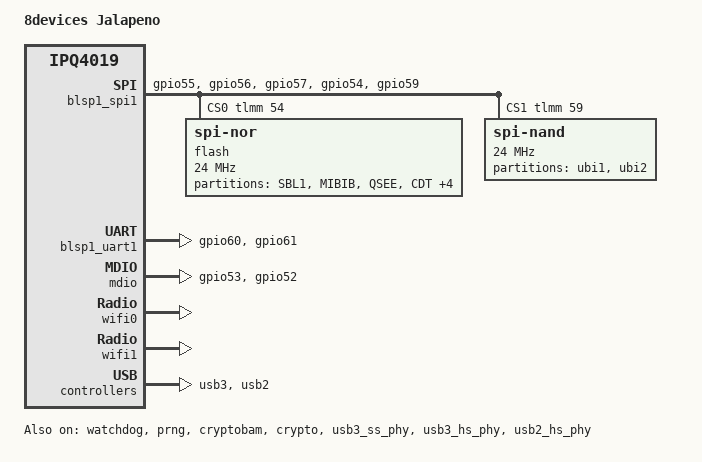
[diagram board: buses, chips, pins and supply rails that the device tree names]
// SPDX-License-Identifier: GPL-2.0-or-later OR MIT
// Copyright (c) 2018, Robert Marko <robimarko@gmail.com>

#include "qcom-ipq4019.dtsi"
#include <dt-bindings/gpio/gpio.h>
#include <dt-bindings/input/input.h>

/ {
	model = "8devices Jalapeno";
	compatible = "8dev,jalapeno";
};

&tlmm {
	mdio_pins: mdio_pinmux {
		pinmux_1 {
			pins = "gpio53";
			function = "mdio";
		};

		pinmux_2 {
			pins = "gpio52";
			function = "mdc";
		};

		pinconf {
			pins = "gpio52", "gpio53";
			bias-pull-up;
		};
	};

	serial_pins: serial_pinmux {
		mux {
			pins = "gpio60", "gpio61";
			function = "blsp_uart0";
			bias-disable;
		};
	};

	spi_0_pins: spi_0_pinmux {
		pin {
			function = "blsp_spi0";
			pins = "gpio55", "gpio56", "gpio57";
			drive-strength = <2>;
			bias-disable;
		};

		pin_cs {
			function = "gpio";
			pins = "gpio54", "gpio59";
			drive-strength = <2>;
			bias-disable;
			output-high;
		};
	};
};

&watchdog {
	status = "okay";
};

&prng {
	status = "okay";
};

&blsp_dma {
	status = "okay";
};

&blsp1_spi1 {
	status = "okay";

	pinctrl-0 = <&spi_0_pins>;
	pinctrl-names = "default";
	cs-gpios = <&tlmm 54 GPIO_ACTIVE_HIGH>, <&tlmm 59 GPIO_ACTIVE_HIGH>;

	flash@0 {
		status = "okay";

		compatible = "jedec,spi-nor";
		reg = <0>;
		spi-max-frequency = <24000000>;

		partitions {
			compatible = "fixed-partitions";
			#address-cells = <1>;
			#size-cells = <1>;

			partition@0 {
				label = "SBL1";
				reg = <0x00000000 0x00040000>;
				read-only;
			};

			partition@40000 {
				label = "MIBIB";
				reg = <0x00040000 0x00020000>;
				read-only;
			};

			partition@60000 {
				label = "QSEE";
				reg = <0x00060000 0x00060000>;
				read-only;
			};

			partition@c0000 {
				label = "CDT";
				reg = <0x000c0000 0x00010000>;
				read-only;
			};

			partition@d0000 {
				label = "DDRPARAMS";
				reg = <0x000d0000 0x00010000>;
				read-only;
			};

			partition@e0000 {
				label = "u-boot-env";
				reg = <0x000e0000 0x00010000>;
			};

			partition@f0000 {
				label = "u-boot";
				reg = <0x000f0000 0x00080000>;
				read-only;
			};

			partition@170000 {
				label = "ART";
				reg = <0x00170000 0x00010000>;
				read-only;
			};
		};
	};

	spi-nand@1 {
		status = "okay";

		compatible = "spi-nand";
		reg = <1>;
		spi-max-frequency = <24000000>;

		partitions {
			compatible = "fixed-partitions";
			#address-cells = <1>;
			#size-cells = <1>;

			partition@0 {
				label = "ubi1";
				reg = <0x00000000 0x04000000>;
			};

			partition@4000000 {
				label = "ubi2";
				reg = <0x04000000 0x04000000>;
			};
		};
	};
};

&blsp1_uart1 {
	status = "okay";

	pinctrl-0 = <&serial_pins>;
	pinctrl-names = "default";
};

&cryptobam {
	status = "okay";
};

&crypto {
	status = "okay";
};

&mdio {
	status = "okay";

	pinctrl-0 = <&mdio_pins>;
	pinctrl-names = "default";
};

&wifi0 {
	status = "okay";

	qcom,ath10k-calibration-variant = "8devices-Jalapeno";
};

&wifi1 {
	status = "okay";

	qcom,ath10k-calibration-variant = "8devices-Jalapeno";
};

&usb3_ss_phy {
	status = "okay";
};

&usb3_hs_phy {
	status = "okay";
};

&usb3 {
	status = "okay";
};

&usb2_hs_phy {
	status = "okay";
};

&usb2 {
	status = "okay";
};
